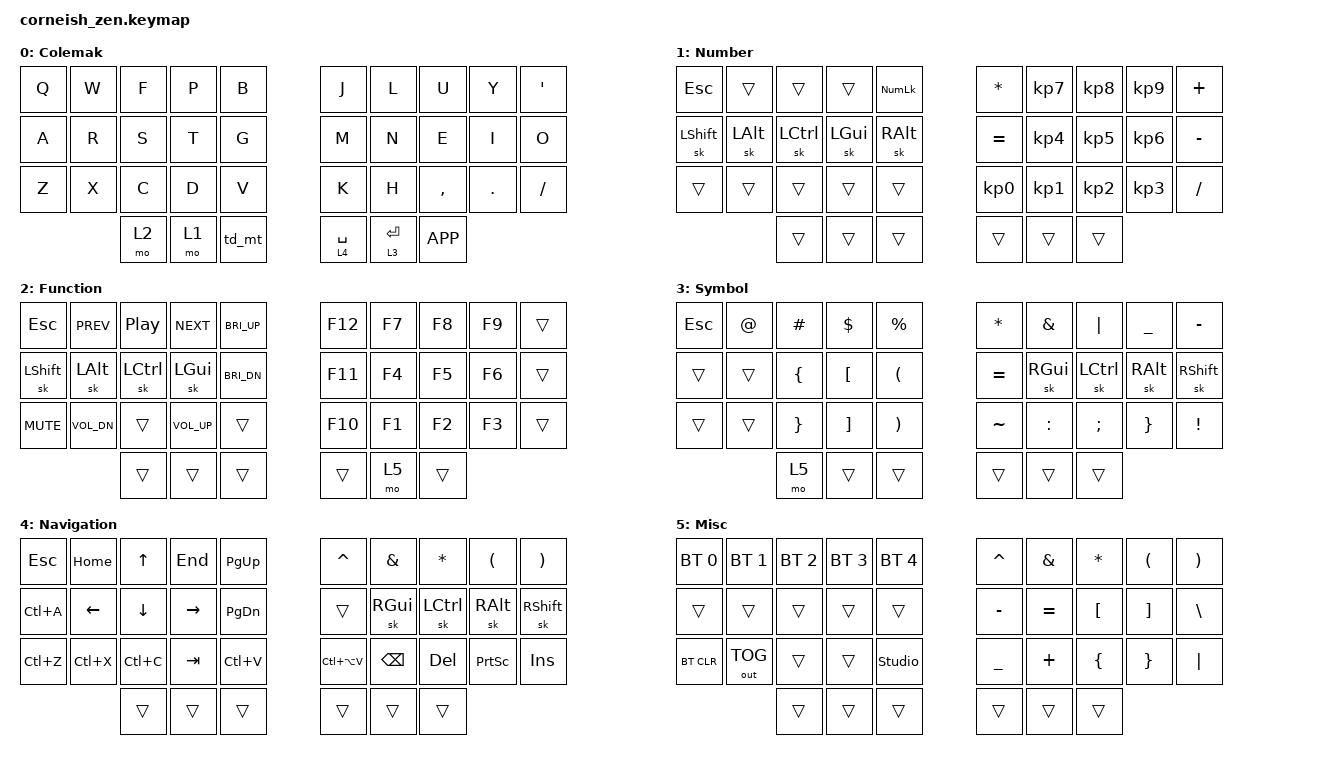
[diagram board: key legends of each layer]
#include <behaviors.dtsi>
#include <dt-bindings/zmk/keys.h>
#include <dt-bindings/zmk/bt.h>
#include <dt-bindings/zmk/outputs.h>

/ {
    behaviors {
        td_mt: tap_dance_mod_tap {
            compatible = "zmk,behavior-tap-dance";
            #binding-cells = <0>;
            tapping-term-ms = <200>;
            bindings = <&skq LSHIFT>, <&caps_word>;
        };
    skq: sticky_key_quick_release {
      compatible = "zmk,behavior-sticky-key";
      label = "STICKY_KEY_QUICK_RELEASE";
      #binding-cells = <1>;
      bindings = <&kp>;
      release-after-ms = <1000>;
      quick-release;
    };
  };

    keymap {
        compatible = "zmk,keymap";

        default_layer {
            bindings = <
                &td_mt
            >;
        };
    };
};
/ {
    chosen {
        // zmk,physical-layout = &foostan_corne_6col_layout;
        zmk,physical-layout = &foostan_corne_5col_layout;
    };
};

/ {
    keymap {
        compatible = "zmk,keymap";

        default_layer {
            display-name = "Colemak";
// --------------------------------------------------------------------------------
// |  TAB |  Q  |  W  |  E  |  R  |  T  |   |  Y  |  U   |  I  |  O  |  P  | BSPC |
// | CTRL |  A  |  S  |  D  |  F  |  G  |   |  H  |  J   |  K  |  L  |  ;  |  '   |
// | SHFT |  Z  |  X  |  C  |  V  |  B  |   |  N  |  M   |  ,  |  .  |  /  | ESC  |
//                    | GUI | LWR | SPC |   | ENT | RSE  | ALT |
            bindings = <
  &kp Q &kp W &kp F &kp P &kp B   &kp J &kp L  &kp U     &kp Y   &kp SQT  
 &kp A &kp R &kp S &kp T &kp G   &kp M &kp N  &kp E     &kp I   &kp O
 &kp Z &kp X &kp C &kp D &kp V   &kp K &kp H  &kp COMMA &kp DOT &kp FSLH
               &mo 2 &mo 1 &td_mt   &lt 4 SPACE &lt 3 RET &kp K_APP
            >;
        };

        lower_layer {
            display-name = "Number";
// -----------------------------------------------------------------------------------------
// |  TAB |  1  |  2  |  3  |  4  |  5  |   |  6  |  7  |  8  |  9  |  0  | BSPC |
// | BTCLR| BT1 | BT2 | BT3 | BT4 | BT5 |   | LFT | DWN |  UP | RGT |     |Studio|
// | SHFT |     |     |     |     |     |   |     |     |     |     |     |      |
//                    | GUI |     | SPC |   | ENT |     | ALT |
            bindings = <
   &kp ESC       &trans       &trans       &trans       &kp KP_NUM         &kp STAR   &kp KP_N7   &kp KP_N8 &kp KP_N9    &kp PLUS 
 &sk LSHIFT &sk LALT &sk LCTRL &sk LGUI &sk RALT                     &kp EQUAL &kp KP_N4 &kp KP_N5 &kp KP_N6 &kp MINUS 
  &trans       &trans       &trans       &trans       &trans         &kp KP_N0   &kp KP_N1   &kp KP_N2 &kp KP_N3    &kp SLASH
                                     &trans     &trans       &trans      &trans  &trans   &trans
            >;
        };

        raise_layer {
            display-name = "Function";
// -----------------------------------------------------------------------------------------
// |  TAB |  !  |  @  |  #  |  $  |  %  |   |  ^  |  &  |  *  |  (  |  )  | BSPC |
// | CTRL |     |     |     |     |     |   |  -  |  =  |  [  |  ]  |  \  |  `   |
// | SHFT |     |     |     |     |     |   |  _  |  +  |  {  |  }  | "|" |  ~   |
//                    | GUI |     | SPC |   | ENT |     | ALT |
            bindings = <
 &kp ESC &kp C_PREV &kp C_PP &kp C_NEXT &kp C_BRI_UP        &kp F12 &kp F7  &kp F8 &kp F9  &trans
  &sk LSHIFT &sk LALT &sk LCTRL &sk LGUI &kp C_BRI_DN      &kp F11 &kp F4 &kp F5  &kp F6 &trans
 &kp C_MUTE   &kp C_VOL_DN &trans   &kp C_VOL_UP   &trans      &kp F10 &kp F1  &kp F2  &kp F3 &trans
                           &trans     &trans       &trans      &trans  &mo 5   &trans
            >;
        };
 SYM_layer {
            display-name = "Symbol";
// -----------------------------------------------------------------------------------------
// |  TAB |  !  |  @  |  #  |  $  |  %  |   |  ^  |  &  |  *  |  (  |  )  | BSPC |
// | CTRL |     |     |     |     |     |   |  -  |  =  |  [  |  ]  |  \  |  `   |
// | SHFT |     |     |     |     |     |   |  _  |  +  |  {  |  }  | "|" |  ~   |
//                    | GUI |     | SPC |   | ENT |     | ALT |
            bindings = <
 &kp ESC &kp AT &kp HASH &kp DLLR &kp PRCNT   &kp STAR &kp AMPS  &kp PIPE &kp UNDER &kp MINUS 
 &trans   &trans &kp LBRC   &kp LBKT   &kp LPAR     &kp EQUAL &sk RGUI &sk LCTL  &sk RALT &sk RSHIFT 
 &trans   &trans &kp RBRC   &kp RBKT   &kp RPAR     &kp TILDE &kp COLON  &kp SEMI  &kp RBRC &kp EXCL 
                          &mo 5     &trans       &trans      &trans  &trans   &trans
            >;
        };
 EXT_layer {
            display-name = "Navigation";
// -----------------------------------------------------------------------------------------
// |  TAB |  !  |  @  |  #  |  $  |  %  |   |  ^  |  &  |  *  |  (  |  )  | BSPC |
// | CTRL |     |     |     |     |     |   |  -  |  =  |  [  |  ]  |  \  |  `   |
// | SHFT |     |     |     |     |     |   |  _  |  +  |  {  |  }  | "|" |  ~   |
//                    | GUI |     | SPC |   | ENT |     | ALT |
            bindings = <
 &kp ESC &kp HOME &kp UP &kp END &kp PG_UP   &kp CARET &kp AMPS  &kp ASTRK &kp LPAR &kp RPAR 
 &kp LC(A)   &kp LEFT &kp DOWN   &kp RIGHT   &kp PG_DN      &trans &sk RGUI &sk LCTL  &sk RALT &sk RSHIFT  
 &kp LC(Z)   &kp LC(X) &kp LC(C)   &kp TAB   &kp LC(V)      &kp LC(LA(V)) &kp BSPC  &kp DEL  &kp PSCRN &kp INS
                           &trans     &trans       &trans      &trans  &trans   &trans
            >;
        };
 BT_layer {
            display-name = "Misc";
// -----------------------------------------------------------------------------------------
// |  TAB |  !  |  @  |  #  |  $  |  %  |   |  ^  |  &  |  *  |  (  |  )  | BSPC |
// | CTRL |     |     |     |     |     |   |  -  |  =  |  [  |  ]  |  \  |  `   |
// | SHFT |     |     |     |     |     |   |  _  |  +  |  {  |  }  | "|" |  ~   |
//                    | GUI |     | SPC |   | ENT |     | ALT |
            bindings = <
 &bt BT_SEL 0 &bt BT_SEL 1 &bt BT_SEL 2 &bt BT_SEL 3 &bt BT_SEL 4   &kp CARET &kp AMPS  &kp ASTRK &kp LPAR &kp RPAR 
 &trans   &trans &trans   &trans   &trans      &kp MINUS &kp EQUAL &kp LBKT  &kp RBKT &kp BSLH 
 &bt BT_CLR   &out OUT_TOG &trans   &trans   &studio_unlock      &kp UNDER &kp PLUS  &kp LBRC  &kp RBRC &kp PIPE 
                          &trans     &trans       &trans      &trans  &trans   &trans
            >;
        };
    };
};
